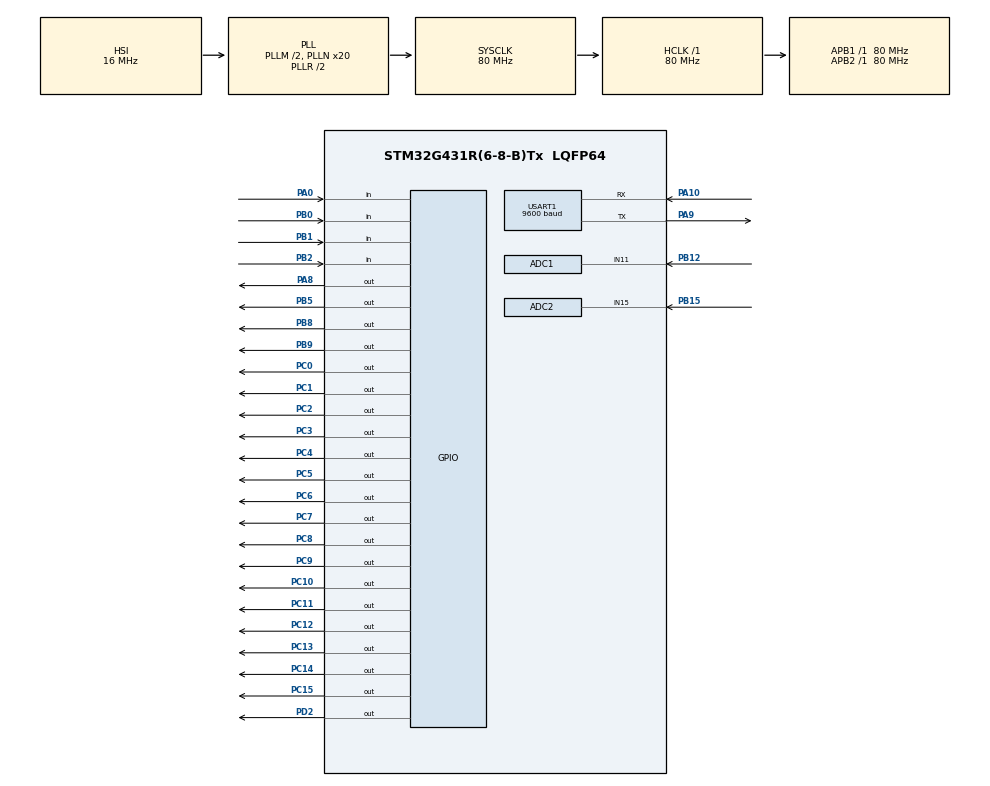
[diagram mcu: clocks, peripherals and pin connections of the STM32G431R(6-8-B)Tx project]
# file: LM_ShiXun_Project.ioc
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ADC1.Channel-0\#ChannelRegularConversion=ADC_CHANNEL_11
ADC1.NbrOfConversionFlag=1
ADC1.OffsetNumber-0\#ChannelRegularConversion=ADC_OFFSET_NONE
ADC1.Rank-0\#ChannelRegularConversion=1
ADC1.SamplingTime-0\#ChannelRegularConversion=ADC_SAMPLETIME_2CYCLES_5
ADC1.master=1
ADC2.Channel-0\#ChannelRegularConversion=ADC_CHANNEL_15
ADC2.NbrOfConversionFlag=1
ADC2.OffsetNumber-0\#ChannelRegularConversion=ADC_OFFSET_NONE
ADC2.Rank-0\#ChannelRegularConversion=1
ADC2.SamplingTime-0\#ChannelRegularConversion=ADC_SAMPLETIME_2CYCLES_5
Mcu.Family=STM32G4
Mcu.Name=STM32G431R(6-8-B)Tx
Mcu.Package=LQFP64
NVIC.PriorityGroup=NVIC_PRIORITYGROUP_4
NVIC.TIM6_DAC_IRQn=true\:2\:0\:true\:false\:true\:true\:true\:true
NVIC.TIM7_IRQn=true\:3\:0\:true\:false\:true\:true\:true\:true
NVIC.USART1_IRQn=true\:1\:0\:true\:false\:true\:true\:true\:true
PA0.GPIO_PuPd=GPIO_PULLUP
PA0.Signal=GPIO_Input
PA10.Mode=Asynchronous
PA10.Signal=USART1_RX
PA8.Signal=GPIO_Output
PA9.Mode=Asynchronous
PA9.Signal=USART1_TX
PB0.GPIO_PuPd=GPIO_PULLUP
PB0.Signal=GPIO_Input
PB1.GPIO_PuPd=GPIO_PULLUP
PB1.Signal=GPIO_Input
PB12.Mode=IN11-Single-Ended
PB12.Signal=ADC1_IN11
PB15.Mode=IN15-Single-Ended
PB15.Signal=ADC2_IN15
PB2.GPIO_PuPd=GPIO_PULLUP
PB2.Signal=GPIO_Input
PB5.Signal=GPIO_Output
PB8-BOOT0.Signal=GPIO_Output
PB9.Signal=GPIO_Output
PC0.Signal=GPIO_Output
PC1.Signal=GPIO_Output
PC10.PinState=GPIO_PIN_SET
PC10.Signal=GPIO_Output
PC11.PinState=GPIO_PIN_SET
PC11.Signal=GPIO_Output
PC12.PinState=GPIO_PIN_SET
PC12.Signal=GPIO_Output
PC13.PinState=GPIO_PIN_SET
PC13.Signal=GPIO_Output
PC14-OSC32_IN.PinState=GPIO_PIN_SET
PC14-OSC32_IN.Signal=GPIO_Output
PC15-OSC32_OUT.PinState=GPIO_PIN_SET
PC15-OSC32_OUT.Signal=GPIO_Output
PC2.Signal=GPIO_Output
PC3.Signal=GPIO_Output
PC4.Signal=GPIO_Output
PC5.Signal=GPIO_Output
PC6.Signal=GPIO_Output
PC7.Signal=GPIO_Output
PC8.PinState=GPIO_PIN_SET
PC8.Signal=GPIO_Output
PC9.PinState=GPIO_PIN_SET
PC9.Signal=GPIO_Output
PD2.Signal=GPIO_Output
PF0-OSC_IN.Mode=HSE-External-Oscillator
PF0-OSC_IN.Signal=RCC_OSC_IN
PF1-OSC_OUT.Mode=HSE-External-Oscillator
PF1-OSC_OUT.Signal=RCC_OSC_OUT
ProjectManager.HeapSize=0x200
ProjectManager.StackSize=0x400
ProjectManager.TargetToolchain=MDK-ARM V5
RCC.ADC12Freq_Value=80000000
RCC.AHBFreq_Value=80000000
RCC.APB1Freq_Value=80000000
RCC.APB1TimFreq_Value=80000000
RCC.APB2Freq_Value=80000000
RCC.APB2TimFreq_Value=80000000
RCC.CortexFreq_Value=80000000
RCC.EXTERNAL_CLOCK_VALUE=12288000
RCC.HCLKFreq_Value=80000000
RCC.HSE_VALUE=24000000
RCC.HSI48_VALUE=48000000
RCC.HSI_VALUE=16000000
RCC.LSE_VALUE=32768
RCC.PLLM=RCC_PLLM_DIV2
RCC.PLLN=20
RCC.RTCClockSelection=RCC_RTCCLKSOURCE_HSE_DIV32
RCC.SYSCLKFreq_VALUE=80000000
RCC.SYSCLKSource=RCC_SYSCLKSOURCE_PLLCLK
RCC.USBFreq_Value=80000000
RCC.VCOOutputFreq_Value=160000000
RTC.AsynchPrediv=125
RTC.Date=6
RTC.Hours=8
RTC.Minutes=30
RTC.Month=RTC_MONTH_JANUARY
RTC.Seconds=45
RTC.SynchPrediv=6000
RTC.WeekDay=RTC_WEEKDAY_FRIDAY
RTC.Year=23
TIM6.AutoReloadPreload=TIM_AUTORELOAD_PRELOAD_DISABLE
TIM6.PeriodNoDither=100-1
TIM6.Prescaler=8000-1
TIM7.AutoReloadPreload=TIM_AUTORELOAD_PRELOAD_DISABLE
TIM7.PeriodNoDither=10000-1
TIM7.Prescaler=8000-1
USART1.BaudRate=9600
USART1.VirtualMode-Asynchronous=VM_ASYNC
VP_RTC_VS_RTC_Activate.Mode=RTC_Enabled
VP_RTC_VS_RTC_Calendar.Mode=RTC_Calendar
VP_SYS_VS_DBSignals.Mode=DisableDeadBatterySignals
VP_TIM6_VS_ClockSourceINT.Mode=Enable_Timer
VP_TIM7_VS_ClockSourceINT.Mode=Enable_Timer
board=custom

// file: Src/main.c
/* USER CODE BEGIN Header */
/**
  ******************************************************************************
  * @file           : main.c
  * @brief          : Main program body
  ******************************************************************************
  * @attention
  *
  * <h2><center>&copy; Copyright (c) 2021 STMicroelectronics.
  * All rights reserved.</center></h2>
  *
  * This software component is licensed by ST under BSD 3-Clause license,
  * the "License"; You may not use this file except in compliance with the
  * License. You may obtain a copy of the License at:
  *                        opensource.org/licenses/BSD-3-Clause
  *
  ******************************************************************************
  */
/* USER CODE END Header */

#include "main.h"
#include "adc.h"
#include "rtc.h"
#include "tim.h"
#include "usart.h"
#include "gpio.h"

/* USER CODE BEGIN Includes */

#include "stdio.h"
#include "interrupt.h"
#include "bsp_led.h"
#include "string.h"

/* USER CODE END Includes */

/* USER CODE BEGIN PV */

//减速函数
__IO u32 lcdTick,ledTick,usartTick,uwSetingTime_Tick,delayTick;

//LED
u8 led_once;

//LCD
u8 lcd_buff[30];
u8 lcd_once = 1;
u8 Seting_Time_Ctrl = 0;
u8 jiemian,Once = 1;
s8 cow;

//KEY
u8 set_flag;

/*RTC*/
u8 Interface_Num;
RTC_TimeTypeDef time;
RTC_DateTypeDef date;

/*USART*/
u8 USATR_CtrlTransmitTimes;
u8 Usart_Once = 1;
u8 usart_state = 1,search_wares[20];
u8 Find_OK;
u8 alarm_setting;

//ADC
uint32_t adc_r37,adc_r38;
uint8_t Set_House = 1;

//货物信息
struct Date
{
	uint8_t WeekDay;
	uint8_t Month;
	uint8_t Date;
	uint8_t Year;
};

struct wares
{
	uint8_t name[20];
	uint8_t type[20];
	uint32_t number;
	struct Date date;
	uint8_t from[20];
	uint8_t to[20];
	uint8_t place;
	uint8_t time[20];
	int temperature;
	int temperature_up;
	int temperature_down;
	int humidity;
	int humidity_up;
	int humidity_down;
}Wares[8];
u8 Ware_Select = 0,abnormal_type = 0;

//库房信息
u8 House_Used_1,House_Used_2,House_Used_3,House_Used_4,House_Used_5,House_Used_6,House_Used_7,House_Used_8,House_Used;
u32 OutBound_Number;
u8 OutBound_Name[20],OutBound_Num;

/* USER CODE END PV */

void SystemClock_Config(void);
/* USER CODE BEGIN PFP */

void LCD_Proc(void);
void KEY_Proc(void);
void USART_Proc(void);
void LED_Proc(void);

/* USER CODE END PFP */

int main(void)
{

  /* MCU Configuration--------------------------------------------------------*/

  /* Reset of all peripherals, Initializes the Flash interface and the Systick. */
  HAL_Init();

  /* Configure the system clock */
  SystemClock_Config();

  /* Initialize all configured peripherals */
  MX_GPIO_Init();
  MX_RTC_Init();
  MX_USART1_UART_Init();
  MX_TIM6_Init();
  MX_TIM7_Init();
  MX_ADC1_Init();
  MX_ADC2_Init();
  /* USER CODE BEGIN 2 */

	LCD_Init();
    led_init();
  /* USER CODE END 2 */

  /* Infinite loop */
  /* USER CODE BEGIN WHILE */

	LCD_Clear(Black);
	LCD_SetBackColor(Black);
	LCD_SetTextColor(White);

    HAL_TIM_Base_Start_IT(&htim6);
	HAL_UART_Receive_IT(&huart1,&rx_dat,1);

  while (1)
  {
    /* USER CODE END WHILE */

    /* USER CODE BEGIN 3 */
    LCD_Proc();
    KEY_Proc();
    USART_Proc();
	LED_Proc();
  }
  /* USER CODE END 3 */
}

void SystemClock_Config(void)
{
  RCC_OscInitTypeDef RCC_OscInitStruct = {0};
  RCC_ClkInitTypeDef RCC_ClkInitStruct = {0};
  RCC_PeriphCLKInitTypeDef PeriphClkInit = {0};

  /** Configure the main internal regulator output voltage
  */
  HAL_PWREx_ControlVoltageScaling(PWR_REGULATOR_VOLTAGE_SCALE1);
  /** Initializes the CPU, AHB and APB busses clocks
  */
  RCC_OscInitStruct.OscillatorType = RCC_OSCILLATORTYPE_HSI|RCC_OSCILLATORTYPE_HSE;
  RCC_OscInitStruct.HSEState = RCC_HSE_ON;
  RCC_OscInitStruct.HSIState = RCC_HSI_ON;
  RCC_OscInitStruct.HSICalibrationValue = RCC_HSICALIBRATION_DEFAULT;
  RCC_OscInitStruct.PLL.PLLState = RCC_PLL_ON;
  RCC_OscInitStruct.PLL.PLLSource = RCC_PLLSOURCE_HSI;
  RCC_OscInitStruct.PLL.PLLM = RCC_PLLM_DIV2;
  RCC_OscInitStruct.PLL.PLLN = 20;
  RCC_OscInitStruct.PLL.PLLP = RCC_PLLP_DIV2;
  RCC_OscInitStruct.PLL.PLLQ = RCC_PLLQ_DIV2;
  RCC_OscInitStruct.PLL.PLLR = RCC_PLLR_DIV2;
  if (HAL_RCC_OscConfig(&RCC_OscInitStruct) != HAL_OK)
  {
    Error_Handler();
  }
  /** Initializes the CPU, AHB and APB busses clocks
  */
  RCC_ClkInitStruct.ClockType = RCC_CLOCKTYPE_HCLK|RCC_CLOCKTYPE_SYSCLK
                              |RCC_CLOCKTYPE_PCLK1|RCC_CLOCKTYPE_PCLK2;
  RCC_ClkInitStruct.SYSCLKSource = RCC_SYSCLKSOURCE_PLLCLK;
  RCC_ClkInitStruct.AHBCLKDivider = RCC_SYSCLK_DIV1;
  RCC_ClkInitStruct.APB1CLKDivider = RCC_HCLK_DIV1;
  RCC_ClkInitStruct.APB2CLKDivider = RCC_HCLK_DIV1;

  if (HAL_RCC_ClockConfig(&RCC_ClkInitStruct, FLASH_LATENCY_3) != HAL_OK)
  {
    Error_Handler();
  }
  /** Initializes the peripherals clocks
  */
  PeriphClkInit.PeriphClockSelection = RCC_PERIPHCLK_RTC|RCC_PERIPHCLK_USART1
                              |RCC_PERIPHCLK_ADC12;
  PeriphClkInit.Usart1ClockSelection = RCC_USART1CLKSOURCE_PCLK2;
  PeriphClkInit.Adc12ClockSelection = RCC_ADC12CLKSOURCE_SYSCLK;
  PeriphClkInit.RTCClockSelection = RCC_RTCCLKSOURCE_HSE_DIV32;

  if (HAL_RCCEx_PeriphCLKConfig(&PeriphClkInit) != HAL_OK)
  {
    Error_Handler();
  }
}

/* USER CODE BEGIN 4 */

void LED_Proc(void)
{
	if(uwTick - ledTick < 500) return;
    ledTick = uwTick;

	for(int i = 0; i < 8; i++)
	{
		for(int j = 0; j < 8; j++)
		{
			if(Wares[i].place == j + 1)// 1号：0x01,2号：0x02,3号:0x04,4号0x08
			{
				if(Wares[i].temperature > Wares[i].temperature_up ||  Wares[i].temperature < Wares[i].temperature_down || Wares[i].humidity < Wares[i].humidity_down || Wares[i].humidity > Wares[i].humidity_up)
				{
					if(j + 1 == 1) House_Used ^= 0x01;
					if(j + 1 == 2) House_Used ^= 0x02;
					if(j + 1 == 3) House_Used ^= 0x04;
					if(j + 1 == 4) House_Used ^= 0x08;
					if(j + 1 == 5) House_Used ^= 0x10;
					if(j + 1 == 6) House_Used ^= 0x20;
					if(j + 1 == 7) House_Used ^= 0x40;
					if(j + 1 == 8) House_Used ^= 0x80;
				}
				else
				{
					if(j + 1 == 1) House_Used |= House_Used_1;
					if(j + 1 == 2) House_Used |= House_Used_2;
					if(j + 1 == 3) House_Used |= House_Used_3;
					if(j + 1 == 4) House_Used |= House_Used_4;
					if(j + 1 == 5) House_Used |= House_Used_5;
					if(j + 1 == 6) House_Used |= House_Used_6;
					if(j + 1 == 7) House_Used |= House_Used_7;
					if(j + 1 == 8) House_Used |= House_Used_8;
				}
			}
		}
	}
	led_ctrl(House_Used);
}

void LCD_Proc(void)
{
    if(uwTick - lcdTick < 10) return;
    lcdTick = uwTick;

	/*获取日期时间*/
	HAL_RTC_GetTime(&hrtc,&time,RTC_FORMAT_BIN);
	HAL_RTC_GetDate(&hrtc,&date,RTC_FORMAT_BIN);
	sprintf((char *)lcd_buff,"20%02d-%02d-%02d  %02d:%02d:%02d",date.Year,date.Month,date.Date,time.Hours,time.Minutes,time.Seconds);//时间
	LCD_DisplayStringLine(Line9,lcd_buff);

    /*开机界面*/
	if (jiemian == 0)
	{
		while(Once)
		{
			delayTick = uwTick;
			Once = 0;
		}

		LCD_DrawLine(12,0,320,Horizontal);
		LCD_DrawLine(214,0,320,Horizontal);

		LCD_DisplayStringLine(Line1,(uint8_t *)"---Welcome To Use---");//Welcome to use intelligent logistics warehouse management system
		if(uwTick - delayTick > 500)
		{
			LCD_DisplayStringLine(Line3,(uint8_t *)"Intelligent Logistics");
		}
		if(uwTick - delayTick > 1000)
		{
			LCD_DisplayStringLine(Line5,(uint8_t *)"Warehouse Management");
		}
		if(uwTick - delayTick > 1500)
		{
			LCD_DisplayStringLine(Line7,(uint8_t *)"       System       ");

		}
		if(uwTick - delayTick > 2000)
		{
			jiemian = 1;
			LCD_ClearPrimary();
		}

	}

	/*菜单界面*/
	else if(jiemian == 1)
	{
		LCD_DisplayStringLine(Line0,(uint8_t *)"        MENU        ");
		LCD_DrawLine(Line1,0,320,Horizontal);
		LCD_DrawLine(214,0,320,Horizontal);

		if(lcd_once == 1)
        {
            LCD_DisplayStringLine(Line2,str_page1[0]);
            LCD_DisplayStringLine(Line4,str_page1[1]);
            LCD_DisplayStringLine(Line6,str_page1[2]);
			line_now = Line2;
            lcd_once = 0;
        }
		line_step = 48;
		line_beg = Line2;
		line_end = Line6;

		Line_change_page1();
	}

	/*入库管理界面_01录入货物信息*/
	if(jiemian == 2)
	{
		LCD_DisplayStringLine(Line0,(uint8_t *)"   Inbound (Wares)   ");
		LCD_DrawLine(Line1,0,320,Horizontal);
		LCD_DrawLine(214,0,320,Horizontal);

		//录入货物信息
		LCD_DisplayStringLine(Line2,(uint8_t *)"Name:");
		LCD_DisplayStringLine(Line3,(uint8_t *)"Type:");
		LCD_DisplayStringLine(Line4,(uint8_t *)"Number:");
		LCD_DisplayStringLine(Line5,(uint8_t *)"Date:");
		LCD_DisplayStringLine(Line6,(uint8_t *)"From:");
		LCD_DisplayStringLine(Line7,(uint8_t *)"To:");
	}

	/*入库管理界面_02设定库房参数*/
	if(jiemian == 3)
	{
		LCD_DisplayStringLine(Line0,(uint8_t *)"  Inbound (House)  ");
		LCD_DrawLine(Line1,0,320,Horizontal);
		LCD_DrawLine(214,0,320,Horizontal);
		LCD_DisplayStringLine(Line2,(uint8_t *)"Place:");
		LCD_DisplayStringLine(Line4,(uint8_t *)"Temperature:");
		LCD_DisplayStringLine(Line6,(uint8_t *)"Humidity:");
	}

	/*出库管理界面*/
	else if(jiemian == 4)
	{
		LCD_DisplayStringLine(Line0,(uint8_t *)"      Outbound      ");
		LCD_DrawLine(Line1,0,320,Horizontal);
		LCD_DrawLine(214,0,320,Horizontal);

		LCD_DisplayStringLine(Line4,(uint8_t *)"  Enter the Name.");
	}

	/*在库管理界面*/
	else if(jiemian == 5)
	{
		LCD_DisplayStringLine(Line0,(uint8_t *)"      Warehouse      ");
		LCD_DrawLine(Line1,0,320,Horizontal);
		LCD_DrawLine(214,0,320,Horizontal);
		line_step = 24;
		line_beg = Line2;
		line_end = Line7;

		if(lcd_once == 1)
		{
			line_now = Line2;
			LCD_DisplayStringLine(Line2,str_page5[0]);
			LCD_DisplayStringLine(Line3,str_page5[1]);
			LCD_DisplayStringLine(Line4,str_page5[2]);
			LCD_DisplayStringLine(Line5,str_page5[3]);
			LCD_DisplayStringLine(Line6,str_page5[4]);
			LCD_DisplayStringLine(Line7,str_page5[5]);
			lcd_once = 0;
		}
		Line_change_page5();
	}
	else if(jiemian == 6)
	{
		LCD_DisplayStringLine(Line0,(uint8_t *)"   Inquiry Of Wares   ");
		LCD_DrawLine(Line1,0,320,Horizontal);
		LCD_DrawLine(214,0,320,Horizontal);

		if(lcd_once == 1)
		{
			LCD_DisplayStringLine(Line4,(uint8_t *)"  Enter the Name.");
			lcd_once = 0;
		}
	}

	/*货物盘点界面*/
	else if (jiemian == 7)
	{
		LCD_DisplayStringLine(Line0,(uint8_t *)" Inventory Of Wares  ");
		LCD_DrawLine(Line1,0,320,Horizontal);
		LCD_DrawLine(214,0,320,Horizontal);

		LCD_DrawRect(40,300,49,50);
		LCD_DrawRect(40,220,49,50);
		LCD_DrawRect(40,140,49,50);
		LCD_DrawRect(40,60,49,50);
		LCD_DrawRect(130,300,49,50);
		LCD_DrawRect(130,220,49,50);
		LCD_DrawRect(130,140,49,50);
		LCD_DrawRect(130,60,49,50);

		if(lcd_once == 1)
		{
			LCD_DisplayChar(65,267 - 80 * 0,'1');//1
			LCD_DisplayChar(65,267 - 80 * 1,'2');//2
			LCD_DisplayChar(65,267 - 80 * 2,'3');//3
			LCD_DisplayChar(65,267 - 80 * 3,'4');//4
			LCD_DisplayChar(65 + 90,267 - 80 * 0,'5');//5
			LCD_DisplayChar(65 + 90,267 - 80 * 1,'6');//6
			LCD_DisplayChar(65 + 90,267 - 80 * 2,'7');//7
			LCD_DisplayChar(65 + 90,267 - 80 * 3,'8');//18

			LCD_SetBackColor(Green);
			for(int i = 0; i < 8;i++)
			{
				for(int j = 0; j < 8; j++)
				{
					if(Wares[i].place == j + 1)
					{
						if ( 0 <= j && j <=3)//第一行
						{
							LCD_DisplayChar(41,299 - 80 * j,' ');
							LCD_DisplayChar(41,283 - 80 * j,' ');
							LCD_DisplayChar(41,267 - 80 * j,' ');
							LCD_DisplayChar(65,299 - 80 * j,' ');
							LCD_DisplayChar(65,283 - 80 * j,' ');
							LCD_DisplayChar(65,267 - 80 * j,' ');
							sprintf((char *)lcd_buff,"%d",j + 1);
							LCD_DisplayString(65,267 - 80 * j,lcd_buff);
						}
						else if (4 <= j && j <= 7)//第二行
						{
							LCD_DisplayChar(41 + 90,299 - 80 * (j-4),' ');
							LCD_DisplayChar(41 + 90,283 - 80 * (j-4),' ');
							LCD_DisplayChar(41 + 90,267 - 80 * (j-4),' ');
							LCD_DisplayChar(65 + 90,299 - 80 * (j-4),' ');
							LCD_DisplayChar(65 + 90,283 - 80 * (j-4),' ');
							LCD_DisplayChar(65 + 90,267 - 80 * (j-4),' ');
							sprintf((char *)lcd_buff,"%d",j + 1);
							LCD_DisplayString(65 + 90,267 - 80 * (j-4),lcd_buff);
						}
					}
				}
			}
			LCD_SetBackColor(Black);
			lcd_once = 0;
		}
		for(int i = 0; i < 7; i++)
		{
			if(Wares[i].place == 1) LCD_DisplayString(90,310,Wares[i].name);
			if(Wares[i].place == 2) LCD_DisplayString(90,310 - 80*1,Wares[i].name);
			if(Wares[i].place == 3) LCD_DisplayString(90,310 - 80*2,Wares[i].name);
			if(Wares[i].place == 4) LCD_DisplayString(90,310 - 80*3,Wares[i].name);
			if(Wares[i].place == 5) LCD_DisplayString(90 + 90,310,Wares[i].name);
			if(Wares[i].place == 6) LCD_DisplayString(90 + 90,310 - 80*1,Wares[i].name);
			if(Wares[i].place == 7) LCD_DisplayString(90 + 90,310 - 80*2,Wares[i].name);
			if(Wares[i].place == 8) LCD_DisplayString(90 + 90,310 - 80*3,Wares[i].name);
		}
	}

	/*告警模拟界面*/
	else if(jiemian == 8)
	{
		LCD_DisplayStringLine(Line0,(uint8_t *)"   Alarm Simulation     ");
		LCD_DrawLine(Line1,0,320,Horizontal);
		LCD_DrawLine(214,0,320,Horizontal);

		if(lcd_once == 1)
		{
			for(int i = 0; i < 8; i++)
			{
				sprintf((char *)lcd_buff,"%d:    0'C    0%%",i + 1);
				LCD_DisplayStringLine((i + 1)*24,lcd_buff);
			}
			for(int i = 0; i < 8; i++)
			{
				for(int j = 0; j < 8 ;j++)
				{
					if(Wares[i].place == j + 1)
					{
						sprintf((char *)lcd_buff,"%d:  %3d'C   %2d%%",j + 1,Wares[i].temperature,Wares[i].humidity);
						LCD_DisplayStringLine(24*(j + 1),lcd_buff);
					}
				}
			}
			lcd_once = 0;
		}
	}

	/*告警设置界面*/
	else if (jiemian == 9)
	{
		LCD_DisplayStringLine(Line0,(uint8_t *)"      Alarm Setting     ");
		LCD_DrawLine(Line1,0,320,Horizontal);
		LCD_DrawLine(214,0,320,Horizontal);

		if(lcd_once == 1)
		{
			for(int i = 0; i < 8; i++)
			{
				sprintf((char *)lcd_buff,"%d:  0~  0'C  0~ 0%%",i + 1);
				LCD_DisplayStringLine((i + 1)*24,lcd_buff);
			}
			for(int i = 0; i < 8; i++)
			{
				for(int j = 0; j < 8 ;j++)
				{
					if(Wares[i].place == j + 1)
					{
						sprintf((char *)lcd_buff,"%d:%3d~%3d'C %2d~%2d%%",j + 1,Wares[i].temperature_down,Wares[i].temperature_up,Wares[i].humidity_down,Wares[i].humidity_up);
						LCD_DisplayStringLine(24*(j + 1),lcd_buff);
					}
				}
			}
			LCD_DrawLine(25,320 - 16*11 - 1,240 - 24*2,Vertical);
			lcd_once = 0;
		}

	}

	/*系统日期设置界面*/
	else if (jiemian == 10)
	{
		LCD_DisplayStringLine(Line0,(uint8_t *)"     System Date     ");
		LCD_DrawLine(Line1,0,320,Horizontal);
		LCD_DrawLine(214,0,320,Horizontal);

		sprintf((char *)lcd_buff,"     20%02d-%02d-%02d",date.Year,date.Month,date.Date);

		/*日期时间设置*/

		if((uwTick - uwSetingTime_Tick) > 500)
		{
			uwSetingTime_Tick = uwTick;
			Seting_Time_Ctrl ^= 1;
		}
		if(Seting_Time_Ctrl ==  1)
		{
			if(Interface_Num == 0)//设置年
			{
				lcd_buff[7] = ' ';
				lcd_buff[8] = ' ';
			}
			else if(Interface_Num == 1)//设置月
			{
				lcd_buff[10] = ' ';
				lcd_buff[11] = ' ';
			}
			else if(Interface_Num == 2)//设置日
			{
				lcd_buff[13] = ' ';
				lcd_buff[14] = ' ';
			}
		}
		LCD_DisplayStringLine(Line4,lcd_buff);

	}

	/*系统时间设置界面*/
	else if(jiemian == 11)
	{
		LCD_DisplayStringLine(Line0,(uint8_t *)"     System Time     ");
		LCD_DrawLine(Line1,0,320,Horizontal);
		LCD_DrawLine(214,0,320,Horizontal);

		sprintf((char *)lcd_buff,"       %02d:%02d:%02d",time.Hours,time.Minutes,time.Seconds);
				/*日期时间设置*/

		if((uwTick - uwSetingTime_Tick) > 500)
		{
			uwSetingTime_Tick = uwTick;
			Seting_Time_Ctrl ^= 1;
		}
		if(Seting_Time_Ctrl ==  1)
		{
			if(Interface_Num == 0)//设置时
			{
				lcd_buff[7] = ' ';
				lcd_buff[8] = ' ';
			}
			else if(Interface_Num == 1)//设置分
			{
				lcd_buff[10] = ' ';
				lcd_buff[11] = ' ';
			}
			else if(Interface_Num == 2)//设置秒
			{
				lcd_buff[13] = ' ';
				lcd_buff[14] = ' ';
			}
		}
		LCD_DisplayStringLine(Line4,lcd_buff);
	}
}

void KEY_Proc(void)
{
    /*返回上一级界面*/
    if(key[0].single_flag == 1)
    {
        if(jiemian == 2) jiemian = 1;
		if(jiemian == 3) jiemian = 1;
		if(jiemian == 4) jiemian = 1;
		if(jiemian == 5) jiemian = 1;
		if(jiemian == 6) jiemian = 5;
		if(jiemian == 7) jiemian = 5;
		if(jiemian == 8) jiemian = 5;
		if(jiemian == 9) jiemian = 5;
		if(jiemian == 10) jiemian = 5;
		if(jiemian == 11) jiemian = 5;
        lcd_once = 1;

		/*清屏*/
		LCD_ClearPrimary();

		key[0].single_flag = 0;
    }

    /*菜单界面*/
    if(jiemian == 1)
    {
        if(key[1].single_flag == 1)
        {
            line_now -= line_step;
            if(line_now < line_beg)
            {
                line_now = line_end;
            }
            Selcct_Up = 1;
            Selcct_Down = 0;

            key[1].single_flag = 0;
        }

        if(key[2].single_flag == 1)
        {
            line_now += line_step;
            if(line_now > line_end)
            {
                line_now = line_beg;
            }
            Selcct_Up = 0;
            Selcct_Down = 1;

            key[2].single_flag = 0;
        }

		if(key[3].single_flag == 1)
		{
			if(line_now == Line2)//跳转入库管理界面
			{
				jiemian = 2;
				Usart_Once = 1;
				usart_state = 1;

			}
			else if(line_now == Line4)//跳转出库管理界面
			{
				jiemian = 4;
				Usart_Once = 1;
			}
			else if(line_now == Line6)//跳转在库管理界面
			{
				jiemian = 5;
			}
			lcd_once = 1;
			LCD_ClearPrimary();
			key[3].single_flag = 0;
		}
	}

	/*入库确定按键*/
	if(jiemian == 3)//确定库房温度
	{
		if(key[3].single_flag == 1)
		{
			printf("    库房温度设定为%d摄氏度,湿度设定为%d%%\r\n",
				Wares[Ware_Select].temperature,Wares[Ware_Select].humidity);
			printf("★★★货物【入库成功】！★★★\r\n");
			printf("_______________________________\r\n");
			Set_House = 0;
			led_once = 1;
			if(++Ware_Select == 9)
			{
				Ware_Select = 0;
				printf("已入库过8批货物！\r\n");
			}
			key[3].single_flag = 0;
		}
	}
	if(jiemian == 5)
	{
		if(key[1].single_flag == 1)
        {
            line_now -= line_step;
            if(line_now < line_beg)
            {
                line_now = line_end;
            }
            Selcct_Up = 1;
            Selcct_Down = 0;

            key[1].single_flag = 0;
        }

        if(key[2].single_flag == 1)
        {
            line_now += line_step;
            if(line_now > line_end)
            {
                line_now = line_beg;
            }
            Selcct_Up = 0;
            Selcct_Down = 1;

            key[2].single_flag = 0;
        }
		if(key[3].single_flag == 1)
		{
			if(line_now == Line2)
			{
				jiemian = 6;
			}
			if(line_now == Line3)
			{
				jiemian = 7;
			}
			if(line_now == Line4)
			{
				jiemian = 8;
			}
			if(line_now == Line5)
			{
				jiemian = 9;
			}
			if(line_now == Line6)
			{
				jiemian = 10;
			}
			if(line_now == Line7)
			{
				jiemian = 11;
			}
			lcd_once = 1;
			Usart_Once = 1;
			LCD_ClearPrimary();
			key[3].single_flag = 0;
		}
	}
	if(jiemian == 10)
	{
		if(key[1].single_flag == 1)
        {
			if(Interface_Num == 0)//设置年
			{
				if(++date.Year > 99)
				{
					date.Year = 0;
				}
			}
			if(Interface_Num == 1)//设置月
			{
				if(++date.Month > 12)
				{
					date.Month = 0;
				}
			}
			if(Interface_Num == 2)
			{
				if(++date.Date > 31)
				{
					date.Date = 0;
				}
			}
			HAL_RTC_SetDate(&hrtc, &date, RTC_FORMAT_BIN);
            key[1].single_flag = 0;
        }
        if(key[2].single_flag == 1)
        {
           if(Interface_Num == 0)
			{
				if(--date.Year == 0)
				{
					date.Year = 99;
				}
			}
			if(Interface_Num == 1)//设置月
			{
				if(--date.Month == 0)
				{
					date.Month = 12;
				}
			}
			if(Interface_Num == 2)
			{
				if(--date.Date ==0)
				{
					date.Date = 31;
				}
			}
			HAL_RTC_SetDate(&hrtc, &date, RTC_FORMAT_BIN);
            key[2].single_flag = 0;
        }
		if(key[3].single_flag == 1)
        {
            if(++Interface_Num > 2)
            {
                Interface_Num = 0;
            }
            key[3].single_flag = 0;
        }
		if(key[3].long_flag == 1)
        {
            jiemian = 5;
			LCD_ClearPrimary();
			if(lcd_once == 1)
			{
				line_now = Line2;
				LCD_DisplayStringLine(Line2,str_page5[0]);
				LCD_DisplayStringLine(Line3,str_page5[1]);
				LCD_DisplayStringLine(Line4,str_page5[2]);
				LCD_DisplayStringLine(Line5,str_page5[3]);
				LCD_DisplayStringLine(Line6,str_page5[4]);
				lcd_once = 0;
			}
            key[3].long_flag = 0;
		}
	}
	/*时间设置*/
	if(jiemian == 11)
	{
		if(key[1].single_flag == 1)
        {
			if(Interface_Num == 0)//设置年
			{
				if(++time.Hours > 24)
				{
					time.Hours = 0;
				}
			}
			if(Interface_Num == 1)//设置月
			{
				if(++time.Minutes > 60)
				{
					date.Month = 0;
				}
			}
			if(Interface_Num == 2)
			{
				if(++time.Seconds > 60)
				{
					date.Date = 0;
				}
			}
			HAL_RTC_SetTime(&hrtc, &time, RTC_FORMAT_BIN);
            key[1].single_flag = 0;
        }
        if(key[2].single_flag == 1)
        {
           if(Interface_Num == 0)
			{
				if(--time.Hours == 0)
				{
					time.Hours = 23;
				}
			}
			if(Interface_Num == 1)//设置月
			{
				if(--time.Minutes == 0)
				{
					time.Minutes = 59;
				}
			}
			if(Interface_Num == 2)
			{
				if(--time.Seconds ==0)
				{
					time.Seconds = 59;
				}
			}
			HAL_RTC_SetTime(&hrtc, &time, RTC_FORMAT_BIN);
            key[2].single_flag = 0;
        }

        if(key[3].single_flag == 1)
        {
            if(++Interface_Num > 2)
            {
                Interface_Num = 0;
            }
            key[3].single_flag = 0;
        }
		if(key[3].long_flag == 1)
        {
            jiemian = 5;
			LCD_ClearPrimary();
			if(lcd_once == 1)
			{
				line_now = Line2;
				LCD_DisplayStringLine(Line2,str_page5[0]);
				LCD_DisplayStringLine(Line3,str_page5[1]);
				LCD_DisplayStringLine(Line4,str_page5[2]);
				LCD_DisplayStringLine(Line5,str_page5[3]);
				LCD_DisplayStringLine(Line6,str_page5[4]);
				lcd_once = 0;
			}
            key[3].long_flag = 0;
        }

	}

    /*清除按键标志位*/
	for(int i;i<4;i++)
	{
		key[i].single_flag = 0;
		key[i].long_flag = 0;
	}
}

void USART_Proc(void)
{
    if((uwTick- usartTick) < 200) return;
    usartTick = uwTick;

	/*开机界面*/
    if(USATR_CtrlTransmitTimes == 0)
    {
        USATR_CtrlTransmitTimes = 1;
		printf("__________________________________________________\r\n");
        printf("★★★★欢迎使用【智能物流仓储管理系统】！★★★★\r\n");
		printf("__________________________________________________\r\n");
		printf("★★系统已自动登录并完成初始化，祝您使用愉快！★★\r\n");
		printf("__________________________________________________\r\n");
    }

	/*入库货物界面*/
	if(jiemian == 2)
	{

		if(usart_state == 1)
		{
			if(Usart_Once == 1)
			{
				printf("☆☆|【入库管理模式】|☆☆\r\n");
				printf("____录入货物信息____\r\n");
				printf("请输入【货物名称】：\r\n");
				HAL_UART_Receive_IT(&huart1,&rx_dat,1);
				Usart_Once = 0;
			}

			if(rx_data[0] != 0)//接收到数据后的处理
			{
				sprintf((char *)Wares[Ware_Select].name,"%s",(uint8_t *)rx_data);
				sprintf((char *)lcd_buff,"Name:%s          ",(uint8_t *)Wares[Ware_Select].name);
				LCD_DisplayStringLine(Line2,lcd_buff);
				USART_ClearBuff();
				printf("    %s\r\n",Wares[Ware_Select].name);

				usart_state = 2;
			}
		}

		if(usart_state == 2)
		{
			if(rx_data[0] == 0)
			{
				if(Usart_Once == 0)
				{
					printf("请输入【货物类型】：\r\n");
					HAL_UART_Receive_IT(&huart1,&rx_dat,1);
					Usart_Once = 1;
				}
			}
			if(rx_data[0] != 0)
			{
				sprintf((char *)Wares[Ware_Select].type,"%s",(uint8_t *)rx_data);
				sprintf((char *)lcd_buff,"Type:%s          ",(uint8_t *)Wares[Ware_Select].type);
				LCD_DisplayStringLine(Line3,lcd_buff);
				USART_ClearBuff();
				printf("    %s\r\n",Wares[Ware_Select].type);

				usart_state = 3;
			}
		}
		if(usart_state == 3)
		{
			if(rx_data[0] == 0)
			{
				if(Usart_Once == 1)
				{
					printf("请输入【货物数量】：\r\n");
					HAL_UART_Receive_IT(&huart1,&rx_dat,1);
					Usart_Once = 0;
				}
			}
			if(rx_data[0] != 0)
			{
				Wares[Ware_Select].number = Myatoi(rx_data);
				sprintf((char *)lcd_buff,"Number:%d          ",Wares[Ware_Select].number);
				LCD_DisplayStringLine(Line4,lcd_buff);
				USART_ClearBuff();
				printf("    %d\r\n",Wares[Ware_Select].number);

				usart_state = 4;
			}
		}
		if(usart_state == 4)
		{
			Wares[Ware_Select].date.Year = date.Year;
			Wares[Ware_Select].date.Month = date.Month;
			Wares[Ware_Select].date.Date = date.Date;

			sprintf((char *)lcd_buff,"Date:20%02d-%02d-%02d",Wares[Ware_Select].date.Year,Wares[Ware_Select].date.Month,Wares[Ware_Select].date.Date);
			LCD_DisplayStringLine(Line5,lcd_buff);
			printf("货物【入库日期】为20%02d年%02d月%02d日\r\n    已自动录入！\r\n",Wares[Ware_Select].date.Year,Wares[Ware_Select].date.Month,Wares[Ware_Select].date.Date);
			usart_state = 5;
		}

		if(usart_state == 5)
		{
			if(rx_data[0] == 0)
			{
				if(Usart_Once == 0)
				{
					printf("请输入【货物来源地】：\r\n");
					HAL_UART_Receive_IT(&huart1,&rx_dat,1);
					Usart_Once = 1;
				}
			}
			if(rx_data[0] != 0)
			{
				sprintf((char *)Wares[Ware_Select].from,"%s",(uint8_t *)rx_data);
				sprintf((char *)lcd_buff,"From:%s          ",(uint8_t *)Wares[Ware_Select].from);
				LCD_DisplayStringLine(Line6,lcd_buff);
				USART_ClearBuff();
				printf("    %s\r\n",Wares[Ware_Select].from);

				usart_state = 6;
			}
		}
		if(usart_state == 6)
		{
			if(rx_data[0] == 0)
			{
				if(Usart_Once == 1)
				{
					printf("请输入【货物目的地】：\r\n");
					HAL_UART_Receive_IT(&huart1,&rx_dat,1);
					Usart_Once = 0;
				}
			}
			if(rx_data[0] != 0)
			{
				sprintf((char *)Wares[Ware_Select].to,"%s",(uint8_t *)rx_data);
				sprintf((char *)lcd_buff,"To:%s          ",(uint8_t *)Wares[Ware_Select].to);
				LCD_DisplayStringLine(Line7,lcd_buff);
				USART_ClearBuff();
				printf("    %s\r\n",Wares[Ware_Select].to);
				HAL_Delay(500);
				usart_state = 7;
			}
		}
		if(usart_state ==7)
		{
			if(rx_data[0] == 0)
			{
				if(Usart_Once == 0)
				{
					jiemian = 3;
					LCD_ClearPrimary();

					Usart_Once = 1;
				}
			}
		}
	}

	/*库房参数设置界面*/
	if(jiemian == 3)
	{
		if(usart_state ==7)
		{
			if(rx_data[0] == 0)
			{
				if(Usart_Once == 1)
				{
					printf("____设定库房参数____\r\n");
					printf("请输入【库房编号】：\r\n");
					HAL_UART_Receive_IT(&huart1,&rx_dat,1);

					Usart_Once = 0;
				}
			}
			if(rx_data[0] != 0)
			{
				if((uint8_t )rx_data[0] - 48 < 0 || (uint8_t )rx_data[0] - 48 > 8)
				{
					printf("输入错误，请输入1~8的整数!\r\n");
				}
				else
				{
					Wares[Ware_Select].place = (uint8_t )rx_data[0] - 48;
					sprintf((char *)lcd_buff,"Place:%d          ",Wares[Ware_Select].place);
					LCD_DisplayStringLine(Line2,lcd_buff);
					USART_ClearBuff();
					printf("    货物将存放在%d号库房！\r\n",Wares[Ware_Select].place);

					for(uint8_t i = 0 ;i < 8; i++)
					{
						if(Wares[i].place != 0)
						{
							if(Wares[i].place == 1) House_Used_1 = 0x01;
							if(Wares[i].place == 2) House_Used_2 = 0x02;
							if(Wares[i].place == 3) House_Used_3 = 0x04;
							if(Wares[i].place == 4) House_Used_4 = 0x08;
							if(Wares[i].place == 5) House_Used_5 = 0x10;
							if(Wares[i].place == 6) House_Used_6 = 0x20;
							if(Wares[i].place == 7) House_Used_7 = 0x40;
							if(Wares[i].place == 8) House_Used_8 = 0x80;
							House_Used = House_Used_1 | House_Used_2 | House_Used_3 | House_Used_4 | House_Used_5 | House_Used_6 | House_Used_7 | House_Used_8;
						usart_state = 8;
						}
					}
				}
			}
		}

		if(usart_state ==8)
		{
			if(Usart_Once == 0)
			{
				printf("请设定【库房温度和湿度】：\r\n");
				Usart_Once = 1;
			}
			if(Set_House == 1)
			{
				HAL_ADC_Start(&hadc1);
				HAL_ADC_Start(&hadc2);

				adc_r37 = HAL_ADC_GetValue(&hadc2);
				adc_r38 = HAL_ADC_GetValue(&hadc1);
				Wares[Ware_Select].temperature = adc_r37/4096.0f*60 - 20;
				if(Wares[Ware_Select].temperature < 0)//-10
				{
					Wares[Ware_Select].temperature_down = Wares[Ware_Select].temperature * 1.1;
					Wares[Ware_Select].temperature_up = Wares[Ware_Select].temperature * 0.9;
				}
				else
				{
					Wares[Ware_Select].temperature_down = Wares[Ware_Select].temperature * 0.9;
					Wares[Ware_Select].temperature_up = Wares[Ware_Select].temperature * 1.1;
				}

				Wares[Ware_Select].humidity = adc_r38/4096.0f*100;
				Wares[Ware_Select].humidity_down = Wares[Ware_Select].humidity * 0.9;
				Wares[Ware_Select].humidity_up = Wares[Ware_Select].humidity * 1.1;

				sprintf((char *)lcd_buff,"Temperature:%3d'C",Wares[Ware_Select].temperature);
				LCD_DisplayStringLine(Line4,lcd_buff);
				sprintf((char *)lcd_buff,"Humidity:%3d%%",Wares[Ware_Select].humidity);
				LCD_DisplayStringLine(Line6,lcd_buff);

			}
			if(Set_House == 0)
			{
				jiemian = 1;
				LCD_ClearPrimary();
				lcd_once = 1;
				Set_House = 1;
				usart_state = 1;
			}
		}
	}

	/*出库管理界面*/
	if(jiemian == 4)
	{
		if(rx_data[0] == 0)
		{
			if(Usart_Once == 1)
			{
				for(int i = 0; i < 7; i++)
				{
					if(Wares[i].name[0] != 0)
					{
						printf("当前仓库中有%s，数量%d件。\r\n",
							Wares[i].name,Wares[i].number);
					}
				}
				printf("请选择要出库的【货物名称】:\r\n");
				HAL_UART_Receive_IT(&huart1,&rx_dat,1);
				Usart_Once = 2;
			}
		}
		if(rx_data[0] != 0)
		{
			if(Usart_Once == 2)
			{
				printf("    %s\r\n",rx_data);
				for(int i = 0; i < 8; i++)
				{
					if(strcmp((char *)rx_data,(char *)Wares[i].name) == 0)
					{
						OutBound_Num = i;
						sprintf((char *)OutBound_Name,"%s",rx_data);
						printf("请输入要出库的【货物数量】：\r\n");
						HAL_UART_Receive_IT(&huart1,&rx_dat,1);
						USART_ClearBuff();
						Usart_Once = 3;
						break;
					}
				}
			}
			if(Usart_Once == 3)
			{
				printf("    %s\r\n",rx_data);
				OutBound_Number = Myatoi(rx_data);
				if(Wares[OutBound_Num].number == OutBound_Number)//刚好出货完
				{
					memset(Wares[OutBound_Num].name,0,sizeof(Wares[OutBound_Num].name));
					memset(Wares[OutBound_Num].type,0,sizeof(Wares[OutBound_Num].type));
					Wares[OutBound_Num].number = 0;
					memset(Wares[OutBound_Num].from,0,sizeof(Wares[OutBound_Num].from));
					memset(Wares[OutBound_Num].to,0,sizeof(Wares[OutBound_Num].to));
					memset(Wares[OutBound_Num].time,0,sizeof(Wares[OutBound_Num].time));
					Wares[OutBound_Num].temperature = 0;
					Wares[OutBound_Num].humidity = 0;
					printf("目标货物已出库完成，%d号库房清空!\r\n",Wares[OutBound_Num].place);

					if(Wares[OutBound_Num].place == 1) House_Used_1 = 0;
					if(Wares[OutBound_Num].place == 2) House_Used_2 = 0;
					if(Wares[OutBound_Num].place == 3) House_Used_3 = 0;
					if(Wares[OutBound_Num].place == 4) House_Used_4 = 0;
					if(Wares[OutBound_Num].place == 5) House_Used_5 = 0;
					if(Wares[OutBound_Num].place == 6) House_Used_6 = 0;
					if(Wares[OutBound_Num].place == 7) House_Used_7 = 0;
					if(Wares[OutBound_Num].place == 8) House_Used_8 = 0;
					House_Used = House_Used_1 | House_Used_2 | House_Used_3 | House_Used_4 | House_Used_5 | House_Used_6 | House_Used_7 | House_Used_8;
					led_once = 1;
					Wares[OutBound_Num].place = 0;
					OutBound_Number = 0;
					Usart_Once = 0;
					USART_ClearBuff();
					jiemian = 1;
				}
				else if(Wares[OutBound_Num].number < OutBound_Number)
				{
					printf("库房中该货物没有足够的余量，请重新输入出货数量.\r\n");
					OutBound_Number = 0;
					USART_ClearBuff();
					Usart_Once = 1;
				}
				else if(Wares[OutBound_Num].number > OutBound_Number && OutBound_Number != 0)
				{
					Wares[OutBound_Num].number -= OutBound_Number;
					printf("目标货物已出库%d件！目前剩余%d件.\r\n",OutBound_Number,Wares[OutBound_Num].number);
					OutBound_Number = 0;
					USART_ClearBuff();
					Usart_Once = 0;
				}
			}
		}
	}

	/*货物查询界面*/
	if(jiemian == 6)
	{
		if(rx_data[0] == 0)
		{
			if(Usart_Once == 1)
			{
				printf("请输入要查询的【货物名称】：\r\n");
				HAL_UART_Receive_IT(&huart1,&rx_dat,1);

				Usart_Once = 0;
			}
		}
		if(rx_data[0] != 0)
		{
			sprintf((char *)search_wares,"%s",rx_data);
			USART_ClearBuff();
			for(int i= 0;i < 8; i++)
			{
				if(strcmp((char *)search_wares,(char *)Wares[i].name) == 0)
				{
					printf("    查询的【货物名称】为%s\r\n",Wares[i].name);
					printf("    查询的【货物类型】为%s\r\n",Wares[i].type);
					printf("    查询的【货物数量】为%d\r\n",Wares[i].number);
					printf("    查询的【入库日期】为20%d-%d-%d\r\n",Wares[i].date.Year,Wares[i].date.Month,Wares[i].date.Date);
					printf("    查询的【货物来源地】为%s\r\n",Wares[i].from);
					printf("    查询的【货物目的地】为%s\r\n",Wares[i].to);
					printf("    查询的【货物存放位置】为%d号库房\r\n",Wares[i].place);
					printf("    库房当前温度为%d摄氏度，湿度为%d%%\r\n",Wares[i].temperature,Wares[i].humidity);

					sprintf((char *)lcd_buff,"Name:%s          ",Wares[i].name);
					LCD_DisplayStringLine(Line1,lcd_buff);
					sprintf((char *)lcd_buff,"Type:%s          ",Wares[i].type);
					LCD_DisplayStringLine(Line2,lcd_buff);
					sprintf((char *)lcd_buff,"Number:%d          ",Wares[i].number);
					LCD_DisplayStringLine(Line3,lcd_buff);
					sprintf((char *)lcd_buff,"Date:20%02d-%02d-%02d    ",Wares[i].date.Year,Wares[i].date.Month,Wares[i].date.Date);
					LCD_DisplayStringLine(Line4,lcd_buff);
					sprintf((char *)lcd_buff,"From:%s     ",Wares[i].from);
					LCD_DisplayStringLine(Line5,lcd_buff);
					sprintf((char *)lcd_buff,"To:%s    ",Wares[i].to);
					LCD_DisplayStringLine(Line6,lcd_buff);
					sprintf((char *)lcd_buff,"Place:%d ",Wares[i].place);
					LCD_DisplayStringLine(Line7,lcd_buff);
					sprintf((char *)lcd_buff,"Temp:%3d'C humi:%d%%    ",Wares[i].temperature,Wares[i].humidity);
					LCD_DisplayStringLine(Line8,lcd_buff);
					Find_OK = 1;
				}
			}
			if(Find_OK == 0)
			{
				printf("未查找到目标货物。\r\n");
			}
		}
	}

	/*告警设置界面*/
	if(jiemian == 9)
	{
		if(rx_data[0] == 0)
		{
			if(Usart_Once == 1)
			{
				printf("请输入要修改阈值的【库房编号】：\r\n");
				HAL_UART_Receive_IT(&huart1,&rx_dat,1);

				Usart_Once = 2;
			}
			if(Usart_Once == 3)
			{
				printf("请按格式“温度下限~温度上限:湿度下限~湿度上限”输入要修改阈值的【目标阈值】：\r\n");
				HAL_UART_Receive_IT(&huart1,&rx_dat,1);
				Usart_Once = 4;
			}

		}
		if(rx_data[0] != 0)
		{
			if(Usart_Once == 2)
			{
				printf("    %s\r\n",rx_data);
				alarm_setting = Myatoi(rx_data) - 1;
				USART_ClearBuff();
				Usart_Once = 3;
			}
			if(Usart_Once == 4)
			{
				printf("    %s\r\n",rx_data);
				for(int i = 0; i < 8; i++)
				{
					if(Wares[i].place == alarm_setting + 1)
					{
						sscanf((char *)rx_data,"%d~%d:%d~%d",&Wares[i].temperature_down,&Wares[i].temperature_up,&Wares[i].humidity_down,&Wares[i].humidity_up);
					}
				}
				USART_ClearBuff();
				Usart_Once = 0;
				lcd_once = 1;
			}
		}
	}

		/*告警模拟界面*/
	if(jiemian == 8)
	{
		if(rx_data[0] == 0)
		{
			if(Usart_Once == 1)
			{
				printf("请输入要模拟的【异常类型】序号：\r\n");
				printf("支持以下四种类型：\r\n");
				printf("1.炎热高温\r\n");
				printf("2.寒冷低温\r\n");
				printf("3.雨水潮湿\r\n");
				printf("4.气候干旱\r\n");
				HAL_UART_Receive_IT(&huart1,&rx_dat,1);

				Usart_Once = 2;
			}
		}
		if(rx_data[0] != 0)
		{
			if(Usart_Once == 2)
			{
				printf("    %s\r\n",rx_data);
				abnormal_type = Myatoi(rx_data);
				if(abnormal_type == 1)
				{
					for(int i = 0; i < 8; i++)
					{
						Wares[i].temperature *= 1.2;
					}
				}
				else if (abnormal_type == 2)
				{
					for(int i = 0; i < 8; i++)
					{
						Wares[i].temperature *= 0.8;
					}
				}
				else if (abnormal_type == 3)
				{
					for(int i = 0; i < 8; i++)
					{
						Wares[i].humidity *= 1.2;
					}
				}
				else if (abnormal_type == 4)
				{
					for(int i = 0; i < 8; i++)
					{
						Wares[i].humidity *= 0.8;
					}
				}
				for(int i = 0; i < 8; i++)
				{
					for(int j = 0; j < 8; j++)
					{
						if(Wares[i].place == j + 1)
						{
							if(Wares[i].temperature < Wares[i].temperature_down) printf("异常【警告】：%d号库房温度过低！\r\n",j + 1);
							if(Wares[i].temperature > Wares[i].temperature_up) printf("异常【警告】：%d号库房温度过高！\r\n",j + 1);
							if(Wares[i].humidity < Wares[i].humidity_down) printf("异常【警告】：%d号库房湿度过低！\r\n",j + 1);
							if(Wares[i].humidity > Wares[i].humidity_up) printf("异常【警告】：%d号库房湿度过高！\r\n",j + 1);
						}
					}
				}
				USART_ClearBuff();
				lcd_once = 1;
				Usart_Once = 0;
			}
		}
	}
}

int fputc(int ch, FILE *f)
{
	HAL_UART_Transmit(&huart1,(uint8_t *)&ch,1,1000);
	return ch;
}

/* USER CODE END 4 */

void Error_Handler(void)
{
}

/************************ (C) COPYRIGHT STMicroelectronics *****END OF FILE****/
